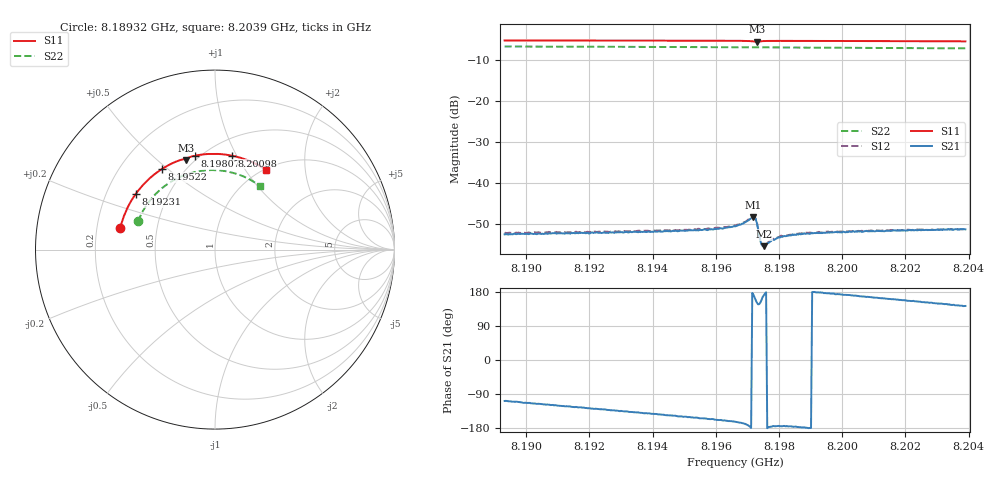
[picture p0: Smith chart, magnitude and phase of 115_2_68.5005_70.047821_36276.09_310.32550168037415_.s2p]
#  HZ  S  RI  R  50.00
! Rohde & Schwarz Vector Network Analyzer
! Rohde-Schwarz,ZNB20-2Port,1311601062101988,3.16
! Created: UTC 3/20/2024, 5:08:52 PM
! freq[Hz]  re:S11  im:S11  re:S21  im:S21  re:S12  im:S12  re:S22  im:S22
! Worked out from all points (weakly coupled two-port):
!   401 points, 8.18932 GHz to 8.2039 GHz, reference 50 ohm
!   highest |S21| = -48.26 dB at 8.19719 GHz (marker M1); lowest = -55.4 dB at 8.19752 GHz (marker M2)
!   lowest |S11| = -5.6 dB at 8.1973 GHz (marker M3), VSWR 3.19, Z = 22.8 + j31.2 ohm
!   |S11| at or under -10 dB: nowhere
!   |S22| runs from -7.3 to -6.8 dB; largest |S21 - S12| = 0.00019
!   S11 on the Smith chart (normalised r, x): 8.18932 GHz: 0.30, +0.10; 8.19231 GHz: 0.33, +0.28; 8.19522 GHz: 0.38, +0.48; 8.19807 GHz: 0.47, +0.69; 8.20098 GHz: 0.65, +0.95; 8.2039 GHz: 1.01, +1.25
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8.189317e9  -0.5282 0.1181  -0.000738 -0.00225  -0.000845 -0.00236  -0.4295 0.157
8.191759e9  -0.464 0.2762  -0.00144 -0.00202  -0.00154 -0.00202  -0.362 0.2746
8.192306e9  -0.4429 0.3085  -0.00157 -0.00191  -0.0017 -0.00192  -0.3422 0.2977
8.194202e9  -0.353 0.4066  -0.00209 -0.00154  -0.00219 -0.0015  -0.2624 0.3669
8.195223e9  -0.2949 0.4494  -0.00234 -0.00127  -0.0024 -0.00125  -0.213 0.3958
8.195989e9  -0.2478 0.4762  -0.00254 -0.00106  -0.00268 -0.001  -0.1738 0.4132
8.196609e9  -0.2069 0.4944  -0.00284 -0.000874  -0.00298 -0.000768  -0.1408 0.4246
8.196864e9  -0.1886 0.5005  -0.00312 -0.000717  -0.00322 -0.000601  -0.1269 0.4285
8.197119e9  -0.1681 0.5032  -0.00371 -5.48e-05  -0.00382 9.94e-05  -0.1129 0.432
8.197192e9  -0.1624 0.5012  -0.00383 0.000541  -0.00392 0.000693  -0.1088 0.4327
8.197265e9  -0.1603 0.4979  -0.00335 0.00136  -0.00337 0.00148  -0.1048 0.4334
8.197302e9  -0.1609 0.4973  -0.00286 0.00156  -0.00286 0.00172  -0.103 0.4338
8.197411e9  -0.1606 0.5031  -0.00174 0.000949  -0.00172 0.00102  -0.0971 0.4351
8.197447e9  -0.1588 0.5057  -0.00166 0.000659  -0.00167 0.000728  -0.0952 0.4354
8.19752e9  -0.1537 0.5095  -0.00168 0.000274  -0.00171 0.000328  -0.0909 0.4363
8.197848e9  -0.1293 0.5189  -0.00202 -0.000192  -0.00211 -0.000143  -0.0727 0.4393
8.198067e9  -0.1136 0.5227  -0.0022 -0.00021  -0.00229 -0.000133  -0.0602 0.4407
8.198578e9  -0.0772 0.5289  -0.00237 -0.00013  -0.00242 -2.71e-05  -0.0314 0.4428
8.199052e9  -0.0436 0.5324  -0.00245 3.11e-05  -0.00247 0.00012  -0.00446 0.443
8.200984e9  0.0926 0.5236  -0.00251 0.00068  -0.0025 0.000766  0.1042 0.427
8.201495e9  0.1277 0.5156  -0.00249 0.000855  -0.00248 0.000951  0.1319 0.4181
8.203901e9  0.2822 0.446  -0.00217 0.00166  -0.00214 0.00178  0.2531 0.3518
